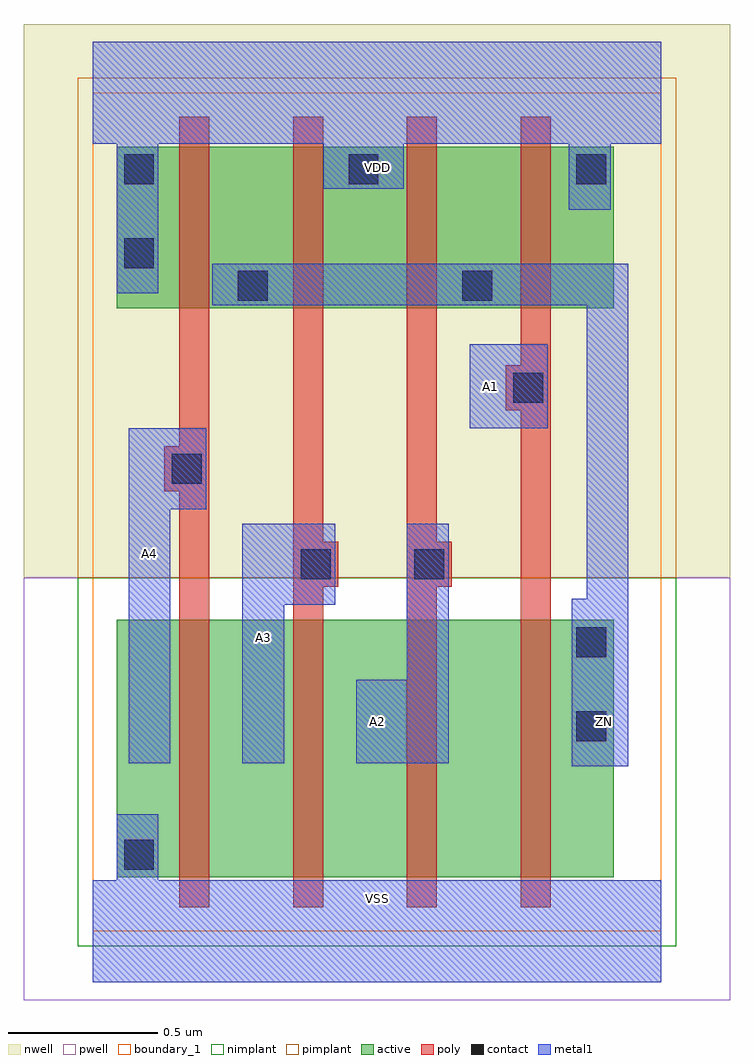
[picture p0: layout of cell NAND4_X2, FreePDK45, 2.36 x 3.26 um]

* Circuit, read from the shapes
.subckt NAND4_X2 A1 A2 A3 A4 VDD VSS ZN
M1 n1 A4 VSS VSUBS nfet w=0.86u l=0.1u
M2 n2 A3 n1 VSUBS nfet w=0.86u l=0.1u
M3 n3 A2 n2 VSUBS nfet w=0.86u l=0.1u
M4 ZN A1 n3 VSUBS nfet w=0.86u l=0.1u
M5 ZN A4 VDD n4 pfet w=0.54u l=0.1u
M6 VDD A3 ZN n4 pfet w=0.54u l=0.1u
M7 ZN A2 VDD n4 pfet w=0.54u l=0.1u
M8 VDD A1 ZN n4 pfet w=0.54u l=0.1u
.ends

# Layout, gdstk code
import gdstk
lib = gdstk.Library(unit=1e-6, precision=1e-09)
def R(c, l, rs):  # rectangles x0, y0, x1, y1
    for r in rs: c.add(gdstk.rectangle(r[:2], r[2:], *l))
def P(c, l, *ps):  # polygons
    for p in ps: c.add(gdstk.Polygon(p, *l))
active = (1, 0)
pwell = (2, 0)
nwell = (3, 0)
nimplant = (4, 0)
pimplant = (5, 0)
poly = (9, 0)
contact = (10, 0)
metal1 = (11, 0)
boundary_1 = (235, 1)

nand4_x2 = lib.new_cell('NAND4_X2')
R(nand4_x2, active, [(0.08,0.18,1.74,1.04), (0.08,2.08,1.74,2.62)])
R(nand4_x2, pwell, [(-0.23,-0.23,2.13,1.18)])
R(nand4_x2, nwell, [(-0.23,1.18,2.13,3.03)])
R(nand4_x2, nimplant, [(-0.05,-0.05,1.95,1.18)])
R(nand4_x2, pimplant, [(-0.05,1.18,1.95,2.85)])
P(nand4_x2, poly, [(1.38,1.74),(1.43,1.74),(1.43,0.08),(1.53,0.08),(1.53,2.72),(1.43,2.72),(1.43,1.89),(1.38,1.89)],
  [(1.05,0.08),(1.15,0.08),(1.15,1.15),(1.2,1.15),(1.2,1.3),(1.15,1.3),(1.15,2.72),(1.05,2.72)],
  [(0.67,0.08),(0.77,0.08),(0.77,1.15),(0.82,1.15),(0.82,1.3),(0.77,1.3),(0.77,2.72),(0.67,2.72)],
  [(0.24,1.47),(0.29,1.47),(0.29,0.08),(0.39,0.08),(0.39,2.72),(0.29,2.72),(0.29,1.62),(0.24,1.62)])
R(nand4_x2, contact, [(0.105,0.205,0.205,0.305), (1.615,0.635,1.715,0.735), (1.615,0.915,1.715,1.015), (0.695,1.175,0.795,1.275), (1.075,1.175,1.175,1.275), (0.265,1.495,0.365,1.595), (1.405,1.765,1.505,1.865), (0.485,2.105,0.585,2.205), (1.235,2.105,1.335,2.205), (0.105,2.215,0.205,2.315), (0.105,2.495,0.205,2.595), (0.855,2.495,0.955,2.595), (1.615,2.495,1.715,2.595)])
R(nand4_x2, metal1, [(1.26,1.68,1.52,1.96), (1.26,1.68,1.52,1.96)])
P(nand4_x2, metal1, [(0.4,2.09),(1.65,2.09),(1.65,1.11),(1.6,1.11),(1.6,0.55),(1.79,0.55),(1.79,2.23),(0.4,2.23)],
  [(0.12,0.56),(0.26,0.56),(0.26,1.41),(0.38,1.41),(0.38,1.68),(0.12,1.68)],
  [(0.88,0.56),(1.19,0.56),(1.19,1.36),(1.05,1.36),(1.05,0.84),(0.88,0.84)],
  [(0,-0.17),(1.9,-0.17),(1.9,0.17),(0.22,0.17),(0.22,0.39),(0.08,0.39),(0.08,0.17),(0,0.17)],
  [(0.5,0.56),(0.64,0.56),(0.64,1.09),(0.81,1.09),(0.81,1.36),(0.5,1.36)],
  [(0,2.63),(0.08,2.63),(0.08,2.13),(0.22,2.13),(0.22,2.63),(0.77,2.63),(0.77,2.48),(1.04,2.48),(1.04,2.63),(1.59,2.63),(1.59,2.41),(1.73,2.41),(1.73,2.63),(1.9,2.63),(1.9,2.97),(0,2.97)],
  [(0,2.63),(0.08,2.63),(0.08,2.13),(0.22,2.13),(0.22,2.63),(0.77,2.63),(0.77,2.48),(1.04,2.48),(1.04,2.63),(1.59,2.63),(1.59,2.41),(1.73,2.41),(1.73,2.63),(1.9,2.63),(1.9,2.97),(0,2.97)],
  [(0,-0.17),(1.9,-0.17),(1.9,0.17),(0.22,0.17),(0.22,0.39),(0.08,0.39),(0.08,0.17),(0,0.17)],
  [(0.4,2.09),(1.65,2.09),(1.65,1.11),(1.6,1.11),(1.6,0.55),(1.79,0.55),(1.79,2.23),(0.4,2.23)],
  [(0.88,0.56),(1.19,0.56),(1.19,1.36),(1.05,1.36),(1.05,0.84),(0.88,0.84)],
  [(0.5,0.56),(0.64,0.56),(0.64,1.09),(0.81,1.09),(0.81,1.36),(0.5,1.36)],
  [(0.12,0.56),(0.26,0.56),(0.26,1.41),(0.38,1.41),(0.38,1.68),(0.12,1.68)])
R(nand4_x2, boundary_1, [(0,0,1.9,2.8)])
nand4_x2.add(gdstk.Label('ZN', (1.71,0.7), layer=11, texttype=0))
nand4_x2.add(gdstk.Label('VSS', (0.95,0.11), layer=11, texttype=0))
nand4_x2.add(gdstk.Label('VDD', (0.95,2.55), layer=11, texttype=0))
nand4_x2.add(gdstk.Label('A4', (0.19,1.26), layer=11, texttype=0))
nand4_x2.add(gdstk.Label('A3', (0.57,0.98), layer=11, texttype=0))
nand4_x2.add(gdstk.Label('A2', (0.95,0.7), layer=11, texttype=0))
nand4_x2.add(gdstk.Label('A1', (1.33,1.82), layer=11, texttype=0))

lib.write_gds('NAND4_X2.gds')
